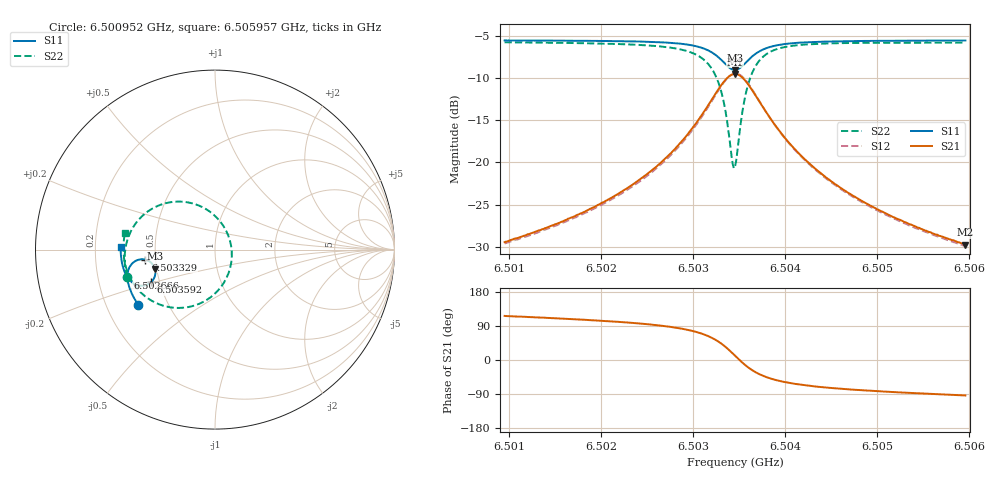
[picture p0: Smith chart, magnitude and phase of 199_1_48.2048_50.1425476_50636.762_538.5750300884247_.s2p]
#  HZ  S  RI  R  50.00
! Rohde & Schwarz Vector Network Analyzer
! Rohde-Schwarz,ZNB20-2Port,1311601062101988,3.16
! Created: UTC 3/20/2024, 11:44:57 AM
! freq[Hz]  re:S11  im:S11  re:S21  im:S21  re:S12  im:S12  re:S22  im:S22
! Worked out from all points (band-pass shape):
!   401 points, 6.500952 GHz to 6.505957 GHz, reference 50 ohm
!   highest |S21| = -9.55 dB at 6.503455 GHz (marker M1); lowest = -29.8 dB at 6.505957 GHz (marker M2)
!   |S21| within 3 dB of the highest: 6.503204 GHz to 6.503705 GHz (500.4 kHz wide, 0.0077 % of centre)
!   lowest |S11| = -9.1 dB at 6.503455 GHz (marker M3), VSWR 2.08, Z = 24.4 - j5.9 ohm
!   |S11| at or under -10 dB: nowhere
!   |S22| runs from -20.7 to -5.8 dB; largest |S21 - S12| = 0.012
!   S11 on the Smith chart (normalised r, x): 6.500952 GHz: 0.34, -0.29; 6.502666 GHz: 0.33, -0.14; 6.503329 GHz: 0.44, -0.06; 6.503592 GHz: 0.45, -0.19; 6.505957 GHz: 0.31, +0.01
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6.500952e9  -0.4264 -0.3088  -0.0149 0.0302  -0.0132 0.0302  -0.49 -0.1538
6.5017904e9  -0.4624 -0.2469  -0.0142 0.048  -0.0118 0.0475  -0.5031 -0.0646
6.5022283e9  -0.4779 -0.2081  -0.0116 0.0662  -0.00847 0.0651  -0.5006 -0.00281
6.5026287e9  -0.4875 -0.1641  -0.00212 0.0972  0.00158 0.0949  -0.4801 0.0768
6.5026663e9  -0.4879 -0.1592  -0.000207 0.1014  0.00335 0.0989  -0.4762 0.0862
6.5029415e9  -0.4837 -0.1162  0.0266 0.1443  0.0303 0.1397  -0.4199 0.1725
6.5031292e9  -0.462 -0.078  0.0815 0.1866  0.0839 0.1804  -0.3151 0.2452
6.5032418e9  -0.429 -0.0574  0.1513 0.2041  0.1523 0.1978  -0.1889 0.2672
6.5033294e9  -0.3881 -0.0559  0.2317 0.1874  0.2322 0.1824  -0.0503 0.2256
6.503417e9  -0.346 -0.0841  0.3091 0.114  0.3114 0.1093  0.0728 0.0811
6.503442e9  -0.3379 -0.0983  0.3224 0.0827  0.3253 0.0773  0.0895 0.0221
6.5034546e9  -0.3353 -0.1059  0.3266 0.0661  0.3299 0.0603  0.0932 -0.00888
6.5034796e9  -0.3324 -0.1218  0.3301 0.032  0.3336 0.0248  0.0907 -0.0712
6.5035421e9  -0.3398 -0.1595  0.311 -0.0468  0.3132 -0.057  0.0334 -0.208
6.5035922e9  -0.3563 -0.1816  0.2771 -0.0927  0.2765 -0.104  -0.0444 -0.2792
6.5037048e9  -0.4013 -0.2011  0.1917 -0.1373  0.1861 -0.1469  -0.2174 -0.3247
6.5038675e9  -0.4478 -0.1915  0.109 -0.1337  0.102 -0.1388  -0.3659 -0.2769
6.5040426e9  -0.4753 -0.1701  0.0644 -0.1132  0.0579 -0.1154  -0.4382 -0.2114
6.5042929e9  -0.4962 -0.1401  0.0341 -0.0887  0.0292 -0.0891  -0.4818 -0.1385
6.5046683e9  -0.5116 -0.1007  0.0151 -0.0651  0.0116 -0.0647  -0.5042 -0.0634
6.5051312e9  -0.5211 -0.058  0.00498 -0.0484  0.00277 -0.0477  -0.5104 0.00238
6.5059571e9  -0.5259 0.0121  -0.00204 -0.0325  -0.00344 -0.0317  -0.5027 0.0901
